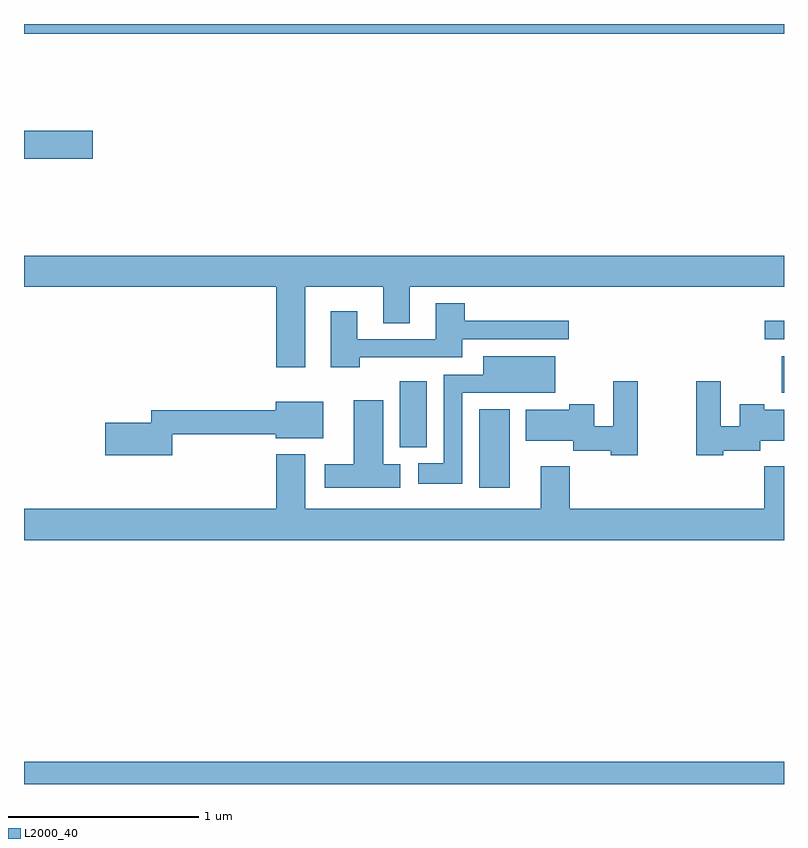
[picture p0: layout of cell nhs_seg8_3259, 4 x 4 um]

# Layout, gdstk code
import gdstk
lib = gdstk.Library(unit=1e-6, precision=1e-09)
def R(c, l, rs):  # rectangles x0, y0, x1, y1
    for r in rs: c.add(gdstk.rectangle(r[:2], r[2:], *l))
def P(c, l, *ps):  # polygons
    for p in ps: c.add(gdstk.Polygon(p, *l))
L2000_40 = (2000, 40)

nhs_seg8_3259 = lib.new_cell('nhs_seg8_3259')
R(nhs_seg8_3259, L2000_40, [(313,1097.9,317,1098.016), (315.395,1099.458,315.556,1099.873), (314.978,1099.673,315.121,1100.02), (316.988,1099.958,317,1100.152), (316.899,1100.241,317,1100.338), (313,1101.191,313.363,1101.338), (313,1101.848,317,1101.9)])
P(nhs_seg8_3259, L2000_40, [(314.479,1100.516),(314.891,1100.516),(314.891,1100.326),(315.031,1100.326),(315.031,1100.516),(317,1100.516),(317,1100.68),(313,1100.68),(313,1100.516),(314.327,1100.516),(314.327,1100.094),(314.479,1100.094)],
  [(314.768,1100.145),(315.307,1100.145),(315.307,1100.241),(315.868,1100.241),(315.868,1100.338),(315.32,1100.338),(315.32,1100.431),(315.167,1100.431),(315.167,1100.241),(314.755,1100.241),(314.755,1100.389),(314.615,1100.389),(314.615,1100.094),(314.768,1100.094)],
  [(315.306,1099.959),(315.552,1099.959),(315.552,1099.958),(315.796,1099.958),(315.796,1100.152),(315.416,1100.152),(315.416,1100.055),(315.21,1100.055),(315.21,1099.588),(315.075,1099.588),(315.075,1099.481),(315.306,1099.481)],
  [(316.679,1099.654),(316.876,1099.654),(316.876,1099.706),(317,1099.706),(317,1099.87),(316.896,1099.87),(316.896,1099.9),(316.766,1099.9),(316.766,1099.784),(316.666,1099.784),(316.666,1100.02),(316.537,1100.02),(316.537,1099.631),(316.679,1099.631)],
  [(316.23,1100.02),(316.1,1100.02),(316.1,1099.784),(316,1099.784),(316,1099.9),(315.871,1099.9),(315.871,1099.87),(315.641,1099.87),(315.641,1099.706),(315.89,1099.706),(315.89,1099.654),(316.088,1099.654),(316.088,1099.631),(316.23,1099.631)],
  [(314.98,1099.582),(314.89,1099.582),(314.89,1099.921),(314.735,1099.921),(314.735,1099.582),(314.583,1099.582),(314.583,1099.46),(314.98,1099.46)],
  [(313.78,1099.74),(314.324,1099.74),(314.324,1099.721),(314.575,1099.721),(314.575,1099.912),(314.324,1099.912),(314.324,1099.868),(313.67,1099.868),(313.67,1099.802),(313.428,1099.802),(313.428,1099.631),(313.78,1099.631)],
  [(317,1099.573),(316.895,1099.573),(316.895,1099.348),(315.872,1099.348),(315.872,1099.573),(315.719,1099.573),(315.719,1099.348),(314.479,1099.348),(314.479,1099.636),(314.327,1099.636),(314.327,1099.348),(313,1099.348),(313,1099.184),(317,1099.184)])

lib.write_gds('nhs_seg8_3259.gds')
